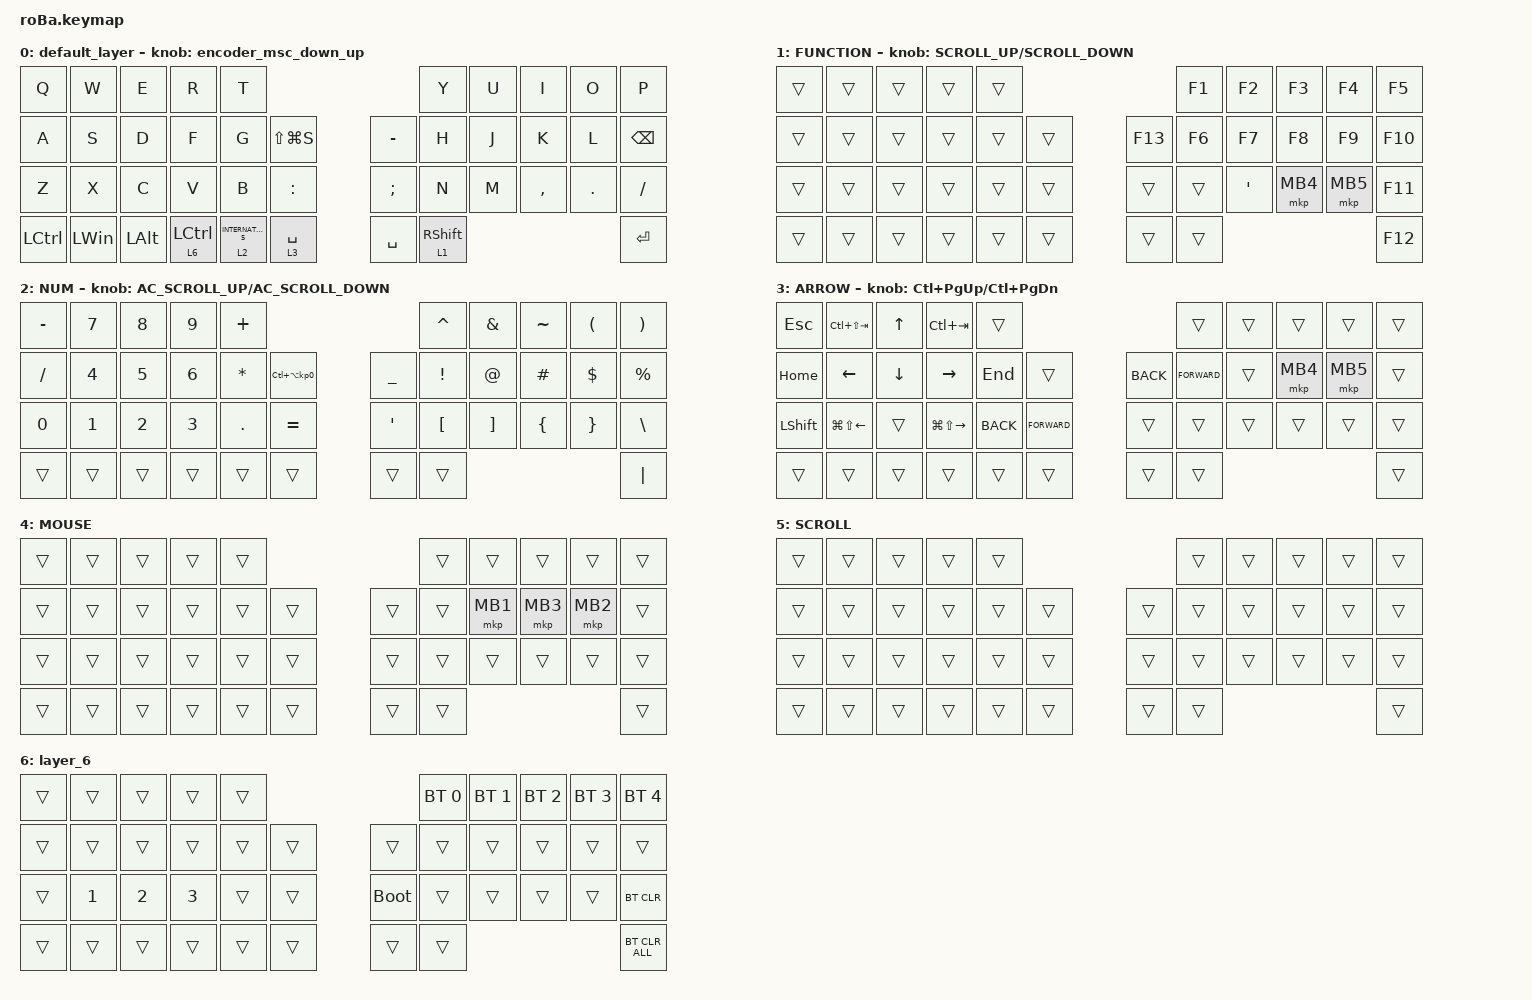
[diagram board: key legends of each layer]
#include <behaviors.dtsi>
#include <dt-bindings/zmk/bt.h>
#include <dt-bindings/zmk/keys.h>
#include <dt-bindings/zmk/pointing.h>

#define MOUSE 4
#define SCROLL 5
#define NUM 6
#define ZMK_POINTING_DEFAULT_SCRL_VAL 80

&mt {
    flavor = "balanced";
    quick-tap-ms = <0>;
};

/ {
    combos {
        compatible = "zmk,combos";

        tab {
            bindings = <&kp TAB>;
            key-positions = <11 12>;
        };

        shift_tab {
            bindings = <&kp LS(TAB)>;
            key-positions = <12 13>;
        };

        muhennkann {
            bindings = <&to_layer_0 INT_MUHENKAN>;
            key-positions = <11 10>;
        };

        double_quotation {
            bindings = <&kp DOUBLE_QUOTES>;
            key-positions = <20 21>;
        };

        eq {
            bindings = <&kp EQUAL>;
            key-positions = <24 25>;
        };
    };

    macros {
        to_layer_0: to_layer_0 {
            compatible = "zmk,behavior-macro-one-param";
            #binding-cells = <1>;
            bindings = <&to 0 &macro_param_1to1 &kp MACRO_PLACEHOLDER>;
            label = "TO_LAYER_0";
        };
    };

    behaviors {
        lt_to_layer_0: lt_to_layer_0 {
            compatible = "zmk,behavior-hold-tap";
            label = "LAYER_TAP_TO_0";
            bindings = <&mo>, <&to_layer_0>;

            #binding-cells = <2>;
            tapping-term-ms = <200>;
        };
    };

    behaviors {
        encoder_msc_down_up: encoder_msc_down_up {
            compatible = "zmk,behavior-sensor-rotate";
            label = "ENCODER_MSC_DOWN_UP";
            #sensor-binding-cells = <0>;
            bindings = <&msc SCRL_DOWN>, <&msc SCRL_UP>;

            tap-ms = <20>;
        };
    };

    keymap {
        compatible = "zmk,keymap";

        default_layer {
            bindings = <
&kp Q      &kp W         &kp E         &kp R        &kp T                                                             &kp Y              &kp U  &kp I      &kp O    &kp P
&kp A      &kp S         &kp D         &kp F        &kp G                  &kp LS(LG(S))               &kp MINUS      &kp H              &kp J  &kp K      &kp L    &kp BACKSPACE
&kp Z      &kp X         &kp C         &kp V        &kp B                  &kp COLON                   &kp SEMICOLON  &kp N              &kp M  &kp COMMA  &kp DOT  &kp SLASH
&kp LCTRL  &kp LEFT_WIN  &kp LEFT_ALT  &lt 6 LCTRL  &lt 2 INTERNATIONAL_5  &lt_to_layer_0 3 SPACE      &kp SPACE      &lt 1 RIGHT_SHIFT                             &kp ENTER
            >;

            sensor-bindings = <&encoder_msc_down_up>;
        };

        FUNCTION {
            bindings = <
&trans  &trans  &trans  &trans  &trans                       &kp F1  &kp F2   &kp F3    &kp F4    &kp F5
&trans  &trans  &trans  &trans  &trans  &trans      &kp F13  &kp F6  &kp F7   &kp F8    &kp F9    &kp F10
&trans  &trans  &trans  &trans  &trans  &trans      &trans   &trans  &kp SQT  &mkp MB4  &mkp MB5  &kp F11
&trans  &trans  &trans  &trans  &trans  &trans      &trans   &trans                               &kp F12
            >;

            sensor-bindings = <&inc_dec_kp K_SCROLL_UP K_SCROLL_DOWN>;
        };

        NUM {
            bindings = <
&kp MINUS     &kp N7        &kp NUMBER_8  &kp NUMBER_9  &kp PLUS                                                   &kp CARET         &kp AMPERSAND      &kp TILDE       &kp LEFT_PARENTHESIS  &kp RIGHT_PARENTHESIS
&kp SLASH     &kp NUMBER_4  &kp NUMBER_5  &kp NUMBER_6  &kp ASTERISK  &kp LC(LA(KP_NUMBER_0))      &kp UNDERSCORE  &kp EXCLAMATION   &kp AT_SIGN        &kp HASH        &kp DOLLAR            &kp PERCENT
&kp NUMBER_0  &kp NUMBER_1  &kp NUMBER_2  &kp NUMBER_3  &kp PERIOD    &kp EQUAL                    &kp SQT         &kp LEFT_BRACKET  &kp RIGHT_BRACKET  &kp LEFT_BRACE  &kp RIGHT_BRACE       &kp BACKSLASH
&trans        &trans        &trans        &trans        &trans        &trans                       &trans          &trans                                                                     &kp PIPE
            >;

            sensor-bindings = <&inc_dec_kp C_AC_SCROLL_UP C_AC_SCROLL_DOWN>;
        };

        ARROW {
            bindings = <
&kp ESCAPE      &kp LC(LS(TAB))         &kp UP_ARROW    &kp LC(TAB)              &trans                                     &trans         &trans  &trans    &trans    &trans
&kp HOME        &kp LEFT_ARROW          &kp DOWN_ARROW  &kp RIGHT_ARROW          &kp END     &trans             &kp K_BACK  &kp K_FORWARD  &trans  &mkp MB4  &mkp MB5  &trans
&kp LEFT_SHIFT  &kp LG(LS(LEFT_ARROW))  &trans          &kp LG(LS(RIGHT_ARROW))  &kp K_BACK  &kp K_FORWARD      &trans      &trans         &trans  &trans    &trans    &trans
&trans          &trans                  &trans          &trans                   &trans      &trans             &trans      &trans                                     &trans
            >;

            sensor-bindings = <&inc_dec_kp LC(PAGE_UP) LC(PAGE_DOWN)>;
        };

        MOUSE {
            bindings = <
&trans  &trans  &trans  &trans  &trans                      &trans  &trans    &trans    &trans    &trans
&trans  &trans  &trans  &trans  &trans  &trans      &trans  &trans  &mkp MB1  &mkp MB3  &mkp MB2  &trans
&trans  &trans  &trans  &trans  &trans  &trans      &trans  &trans  &trans    &trans    &trans    &trans
&trans  &trans  &trans  &trans  &trans  &trans      &trans  &trans                                &trans
            >;
        };

        SCROLL {
            bindings = <
&trans  &trans  &trans  &trans  &trans                      &trans  &trans  &trans  &trans  &trans
&trans  &trans  &trans  &trans  &trans  &trans      &trans  &trans  &trans  &trans  &trans  &trans
&trans  &trans  &trans  &trans  &trans  &trans      &trans  &trans  &trans  &trans  &trans  &trans
&trans  &trans  &trans  &trans  &trans  &trans      &trans  &trans                          &trans
            >;
        };

        layer_6 {
            bindings = <
&trans  &trans        &trans        &trans        &trans                           &bt BT_SEL 0  &bt BT_SEL 1  &bt BT_SEL 2  &bt BT_SEL 3  &bt BT_SEL 4
&trans  &trans        &trans        &trans        &trans  &trans      &trans       &trans        &trans        &trans        &trans        &trans
&trans  &kp NUMBER_1  &kp NUMBER_2  &kp NUMBER_3  &trans  &trans      &bootloader  &trans        &trans        &trans        &trans        &bt BT_CLR
&trans  &trans        &trans        &trans        &trans  &trans      &trans       &trans                                                  &bt BT_CLR_ALL
            >;
        };
    };
};
